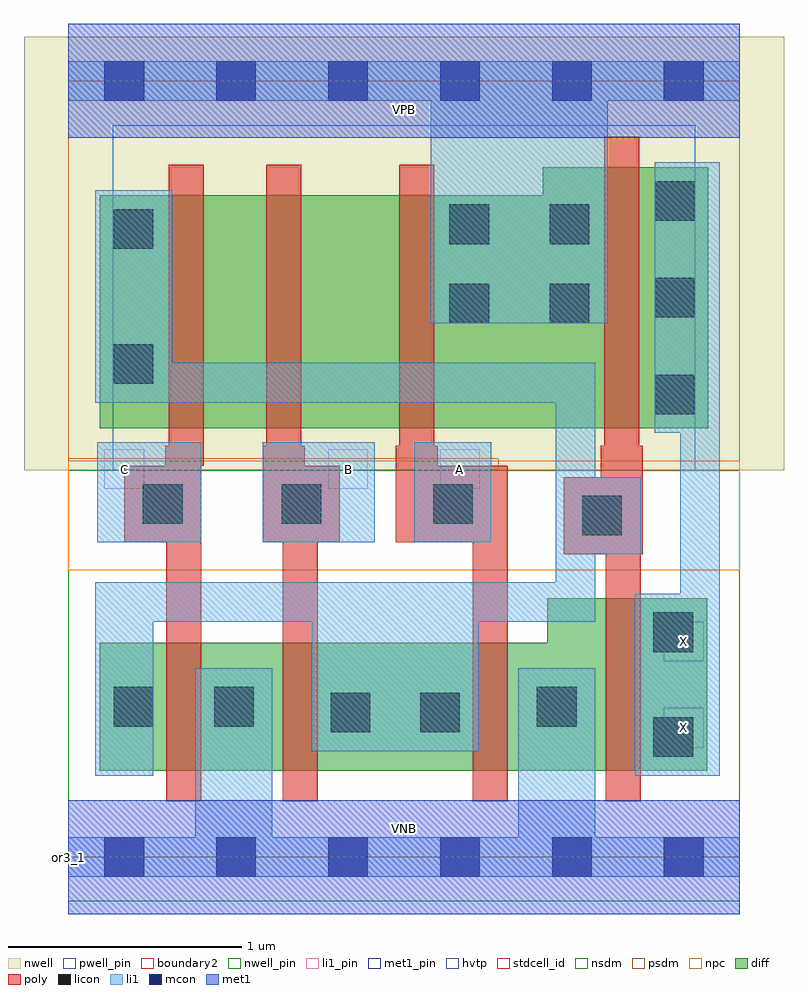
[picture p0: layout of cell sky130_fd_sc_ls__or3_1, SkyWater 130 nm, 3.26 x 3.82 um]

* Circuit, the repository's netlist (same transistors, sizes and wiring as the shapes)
* Copyright 2020 The SkyWater PDK Authors
*
* Licensed under the Apache License, Version 2.0 (the "License");
* you may not use this file except in compliance with the License.
* You may obtain a copy of the License at
*
*     https://www.apache.org/licenses/LICENSE-2.0
*
* Unless required by applicable law or agreed to in writing, software
* distributed under the License is distributed on an "AS IS" BASIS,
* WITHOUT WARRANTIES OR CONDITIONS OF ANY KIND, either express or implied.
* See the License for the specific language governing permissions and
* limitations under the License.
*
* SPDX-License-Identifier: Apache-2.0

.SUBCKT sky130_fd_sc_ls__or3_1 A B C VGND VNB VPB VPWR X
*.PININFO A:I B:I C:I VGND:I VNB:I VPB:I VPWR:I X:O
MMP0 VPWR A sndPA VPB sky130_fd_pr__pfet_01v8_hvt m=1 w=1.0U l=0.15U mult=1 sa=0.265
+ sb=0.265 sd=0.28 area=0.063 perim=1.14
MMP1 sndPA B sndPB VPB sky130_fd_pr__pfet_01v8_hvt m=1 w=1.0U l=0.15U mult=1 sa=0.265
+ sb=0.265 sd=0.28 area=0.063 perim=1.14
MMP2 sndPB C y VPB sky130_fd_pr__pfet_01v8_hvt m=1 w=1.0U l=0.15U mult=1 sa=0.265
+ sb=0.265 sd=0.28 area=0.063 perim=1.14
MMIP3 X y VPWR VPB sky130_fd_pr__pfet_01v8_hvt m=1 w=1.12U l=0.15U mult=1 sa=0.265
+ sb=0.265 sd=0.28 area=0.063 perim=1.14
MMN0 y A VGND VNB sky130_fd_pr__nfet_01v8 m=1 w=0.55U l=0.15U mult=1 sa=0.265 sb=0.265
+ sd=0.28 area=0.063 perim=1.14
MMN1 y B VGND VNB sky130_fd_pr__nfet_01v8 m=1 w=0.55U l=0.15U mult=1 sa=0.265 sb=0.265
+ sd=0.28 area=0.063 perim=1.14
MMN2 y C VGND VNB sky130_fd_pr__nfet_01v8 m=1 w=0.55U l=0.15U mult=1 sa=0.265 sb=0.265
+ sd=0.28 area=0.063 perim=1.14
MMIN3 X y VGND VNB sky130_fd_pr__nfet_01v8 m=1 w=0.74U l=0.15U mult=1 sa=0.265
+ sb=0.265 sd=0.28 area=0.063 perim=1.14
.ENDS sky130_fd_sc_ls__or3_1

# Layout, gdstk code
import gdstk
lib = gdstk.Library(unit=1e-6, precision=1e-09)
def R(c, l, rs):  # rectangles x0, y0, x1, y1
    for r in rs: c.add(gdstk.rectangle(r[:2], r[2:], *l))
def A(c, l, x, y, w, h, nx, ny, dx, dy):  # array of equal rectangles
    R(c, l, [(x+i*dx, y+j*dy, x+i*dx+w, y+j*dy+h) for i in range(nx) for j in range(ny)])
def P(c, l, *ps):  # polygons
    for p in ps: c.add(gdstk.Polygon(p, *l))
nwell_pin = (64, 16)
nwell = (64, 20)
diff = (65, 20)
poly = (66, 20)
licon = (66, 44)
li1_pin = (67, 16)
li1 = (67, 20)
mcon = (67, 44)
met1_pin = (68, 16)
met1 = (68, 20)
hvtp = (78, 44)
stdcell_id = (81, 4)
nsdm = (93, 44)
psdm = (94, 20)
npc = (95, 20)
pwell_pin = (122, 16)
boundary2 = (236, 0)

sky130_fd_sc_ls__or3_1 = lib.new_cell('sky130_fd_sc_ls__or3_1')
R(sky130_fd_sc_ls__or3_1, nwell_pin, [(0,3.085,2.88,3.33)])
R(sky130_fd_sc_ls__or3_1, nwell, [(-0.19,1.66,3.07,3.52)])
P(sky130_fd_sc_ls__or3_1, diff, [(2.74,1.11),(2.055,1.11),(2.055,0.92),(0.135,0.92),(0.135,0.37),(2.74,0.37)],
  [(2.745,2.96),(2.035,2.96),(2.035,2.84),(0.135,2.84),(0.135,1.84),(2.745,1.84)])
P(sky130_fd_sc_ls__or3_1, poly, [(2.465,1.765),(2.45,1.765),(2.45,3.09),(2.3,3.09),(2.3,1.765),(2.285,1.765),(2.285,1.63),(2.125,1.63),(2.125,1.3),(2.305,1.3),(2.305,0.24),(2.455,0.24),(2.455,1.3),(2.465,1.3)],
  [(1.885,1.68),(1.585,1.68),(1.585,1.765),(1.57,1.765),(1.57,2.97),(1.42,2.97),(1.42,1.765),(1.405,1.765),(1.405,1.35),(1.735,1.35),(1.735,0.24),(1.885,0.24)],
  [(1.165,1.68),(1.015,1.68),(1.015,1.765),(1,1.765),(1,2.97),(0.85,2.97),(0.85,1.765),(0.835,1.765),(0.835,1.35),(0.92,1.35),(0.92,0.24),(1.07,0.24),(1.07,1.35),(1.165,1.35)],
  [(0.58,2.97),(0.43,2.97),(0.43,1.765),(0.415,1.765),(0.415,1.68),(0.24,1.68),(0.24,1.35),(0.42,1.35),(0.42,0.24),(0.57,0.24),(0.57,1.68),(0.58,1.68)])
A(sky130_fd_sc_ls__or3_1, licon, 2.515, 1.9, 0.17, 0.17, 1, 3, 0, 0.415)
R(sky130_fd_sc_ls__or3_1, licon, [(2.51,0.43,2.68,0.6), (1.125,0.535,1.295,0.705), (1.51,0.535,1.68,0.705), (0.195,0.56,0.365,0.73), (0.625,0.56,0.795,0.73), (2.01,0.56,2.18,0.73), (2.51,0.88,2.68,1.05), (2.205,1.38,2.375,1.55), (0.32,1.43,0.49,1.6), (0.915,1.43,1.085,1.6), (1.565,1.43,1.735,1.6), (0.195,2.03,0.365,2.2), (1.635,2.29,1.805,2.46), (2.065,2.29,2.235,2.46), (0.195,2.61,0.365,2.78), (1.635,2.63,1.805,2.8), (2.065,2.63,2.235,2.8)])
R(sky130_fd_sc_ls__or3_1, li1_pin, [(2.555,0.47,2.725,0.64), (2.555,0.84,2.725,1.01), (0.155,1.58,0.325,1.75), (1.115,1.58,1.285,1.75), (1.595,1.58,1.765,1.75)])
R(sky130_fd_sc_ls__or3_1, li1, [(0.125,1.35,0.57,1.78), (0.835,1.35,1.315,1.78), (1.485,1.35,1.815,1.78)])
P(sky130_fd_sc_ls__or3_1, li1, [(0,-0.085),(0,0.085),(0.545,0.085),(0.545,0.81),(0.875,0.81),(0.875,0.085),(1.93,0.085),(1.93,0.81),(2.26,0.81),(2.26,0.085),(2.88,0.085),(2.88,-0.085)],
  [(0,3.245),(0,3.415),(2.88,3.415),(2.88,3.245),(2.315,3.245),(2.315,2.29),(1.555,2.29),(1.555,3.245)],
  [(2.26,1.01),(1.76,1.01),(1.76,0.455),(1.045,0.455),(1.045,1.01),(0.365,1.01),(0.365,0.35),(0.115,0.35),(0.115,1.18),(2.09,1.18),(2.09,1.95),(0.115,1.95),(0.115,2.86),(0.445,2.86),(0.445,2.12),(2.26,2.12),(2.26,1.63),(2.455,1.63),(2.455,1.3),(2.26,1.3)],
  [(2.625,1.13),(2.625,1.82),(2.515,1.82),(2.515,2.98),(2.795,2.98),(2.795,0.35),(2.43,0.35),(2.43,1.13)])
A(sky130_fd_sc_ls__or3_1, mcon, 0.155, -0.085, 0.17, 0.17, 6, 2, 0.48, 3.33)
R(sky130_fd_sc_ls__or3_1, met1_pin, [(0,0,2.88,0.245), (0,3.085,2.88,3.33)])
R(sky130_fd_sc_ls__or3_1, met1, [(0,-0.245,2.88,0.245), (0,3.085,2.88,3.575)])
R(sky130_fd_sc_ls__or3_1, hvtp, [(0.19,1.66,2.69,3.14)])
R(sky130_fd_sc_ls__or3_1, stdcell_id, [(0,0,2.88,3.33)])
R(sky130_fd_sc_ls__or3_1, nsdm, [(0,-0.19,2.88,1.66)])
P(sky130_fd_sc_ls__or3_1, psdm, [(2.88,3.52),(0,3.52),(0,1.71),(1.845,1.71),(1.845,1.66),(2.88,1.66)])
R(sky130_fd_sc_ls__or3_1, npc, [(0,1.23,2.88,1.7)])
R(sky130_fd_sc_ls__or3_1, pwell_pin, [(0,0,2.88,0.245)])
R(sky130_fd_sc_ls__or3_1, boundary2, [(0,0,2.88,3.33)])
sky130_fd_sc_ls__or3_1.add(gdstk.Label('or3_1', (0,0), layer=83, texttype=44))
sky130_fd_sc_ls__or3_1.add(gdstk.Label('VNB', (1.44,0.123), layer=64, texttype=59))
sky130_fd_sc_ls__or3_1.add(gdstk.Label('VPB', (1.44,3.208), layer=64, texttype=5))
sky130_fd_sc_ls__or3_1.add(gdstk.Label('VPWR', (1.44,3.208), layer=68, texttype=5))
sky130_fd_sc_ls__or3_1.add(gdstk.Label('VGND', (1.44,0.123), layer=68, texttype=5))
sky130_fd_sc_ls__or3_1.add(gdstk.Label('A', (1.68,1.665), layer=67, texttype=5))
sky130_fd_sc_ls__or3_1.add(gdstk.Label('B', (1.2,1.665), layer=67, texttype=5))
sky130_fd_sc_ls__or3_1.add(gdstk.Label('C', (0.24,1.665), layer=67, texttype=5))
sky130_fd_sc_ls__or3_1.add(gdstk.Label('X', (2.64,0.555), layer=67, texttype=5))
sky130_fd_sc_ls__or3_1.add(gdstk.Label('X', (2.64,0.925), layer=67, texttype=5))

lib.write_gds('sky130_fd_sc_ls__or3_1.gds')
